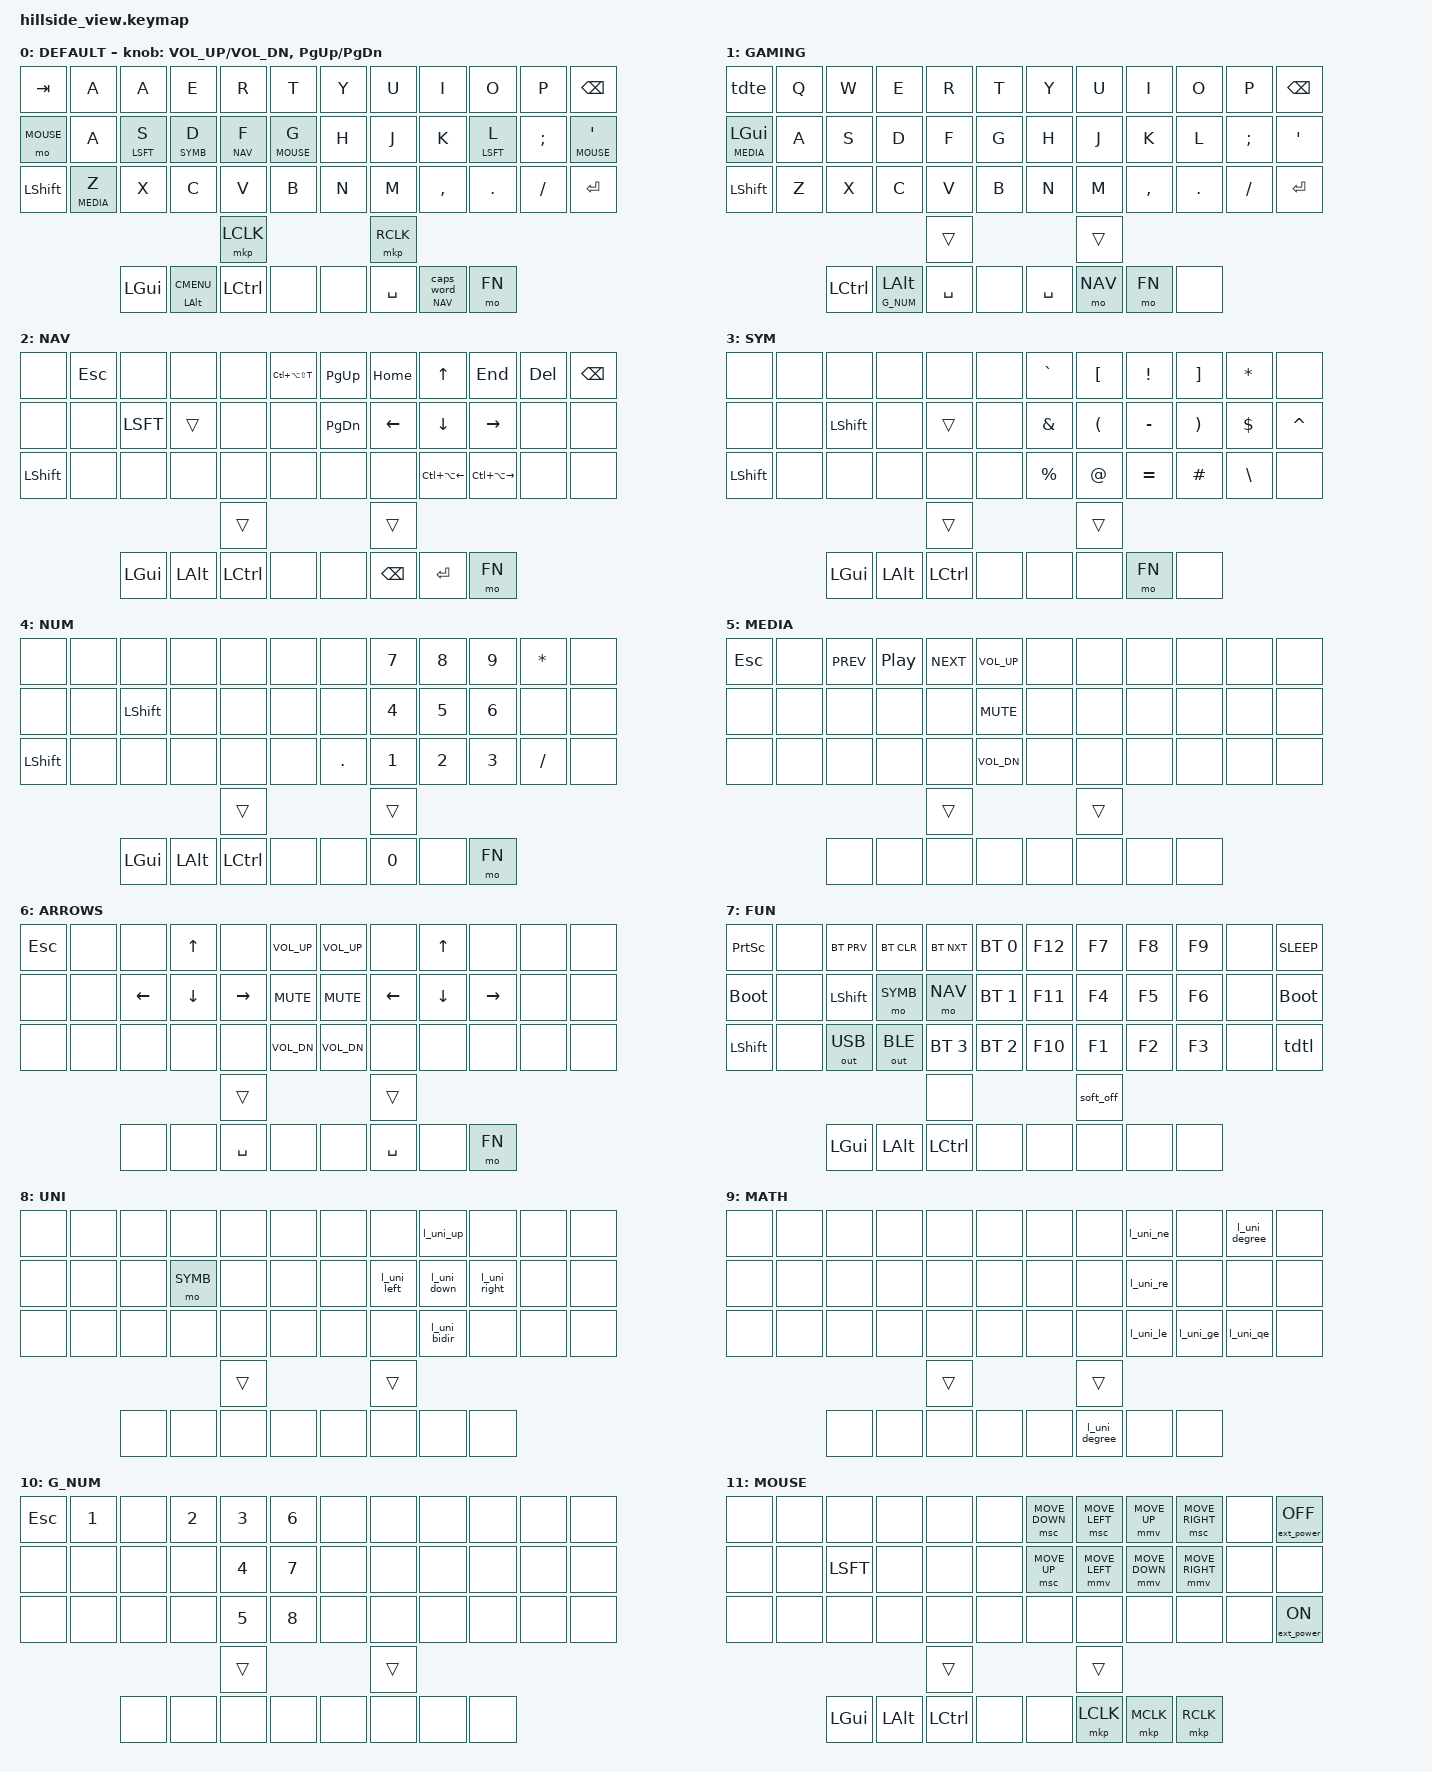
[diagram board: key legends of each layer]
#include <behaviors.dtsi>
#include <dt-bindings/zmk/keys.h>
#include <dt-bindings/zmk/bt.h> 
//#include <dt-bindings/zmk/rgb.h>
#include <dt-bindings/zmk/ext_power.h>
#include <dt-bindings/zmk/outputs.h>

#include <dt-bindings/zmk/mouse.h>
#include <behaviors/mouse_keys.dtsi>

#define DEFAULT 0
#define GAME 1
#define NAV 2
#define SYMB 3
#define NUM 4
#define MEDIA 5
#define ARROWS 6
#define FN 7
#define UNI_NAV 8 // navigation-like unicode characters (e.g., arrows)
#define UNI_MATH 9 // math related unicode characters (e.g., approximately equals)
#define G_NUM 10   // Numbers (1-5) accessible from the GAME layer
#define MOUSE 11

  // Key numbers
  // -----------------------------------------------------------------------------------------
  // | NONE |  1  |  2  |  3  |  4  |  5  |   |  6  |  7   |  8  |  9  |  10  | NONE |
  // | NONE |  13 |  14 |  15 |  16 |  17 |   |  18 |  19  |  20 |  21 |  22  | NONE |
  // | NONE |  25 |  26 |  27 |  28 |  29 |   |  30 |  31  |  32 |  33 |  34  | NONE |
  //                                |  36 |   |  37 |
  //              |  38 |  39 |  40 |  41 |   |  42 |  43 |  44  |  45 |

&caps_word {
    continue-list = <UNDERSCORE MINUS FSLH BSLH N0 N1 N2 N3 N4 N5 N6 N7 N8 N9>;
    timeout = <3>;
    break-on-mod; /* stop caps_word when pressing a modifier */
};

/ {
#if 0
	/* assign `input-listener` to all pointing devices */
	/* &glidepoint0 on central, &glidepoint1 on peripheral */
    tpad_central_listener {
        compatible = "zmk,input-behavior-listener";
        device = <&glidepoint0>;
        y-invert;
        scale-multiplier = <2>;
        // xy-swap;
        // x-invert;
	};
#endif

    tpad_peripheral_listener {
        compatible = "zmk,input-behavior-listener";
        device = <&glidepoint1>;
        layers = <DEFAULT GAME MEDIA ARROWS FN UNI_NAV UNI_MATH G_NUM MOUSE>;
        y-invert;
        scale-multiplier = <2>;
        /* NOTE: do NOT override event code here, */
        /*       let Cirque glidepoint reports click from taps */
        // evt-type = <INPUT_EV_REL>;
        // x-input-code = <INPUT_REL_X>;
        // y-input-code = <INPUT_REL_Y>;
    };

    // Higher Cirque sensitvity when the NAV layer is active
    tpad_peripheral_listener_high_sens {
        compatible = "zmk,input-behavior-listener";
        device = <&glidepoint1>;
        // Higher movement sensitivity when 'f' (NAV) is held
        layers = <NAV>;
        y-invert;
        scale-multiplier = <5>;
    };

    // Cirque for scrolling when the SYMB layer is active
    tpad_peripheral_scroll {
        compatible = "zmk,input-behavior-listener";
        device = <&glidepoint1>;
        layers = <SYMB>;
        /* NOTE: only apply input-code overriding for INPUT_EV_REL */
        evt-type = <INPUT_EV_REL>;
        x-input-code = <INPUT_REL_HWHEEL>;
        y-input-code = <INPUT_REL_WHEEL>;
        bindings = <&ib_wheel_scaler 1 8>;
        // Slow down scrolling by 3/4
        scale-multiplier = <3>;
        scale-divisor = <4>;
    };

    // Higher Cirque sensitvity when the NAV layer is active
    tpad_peripheral_scroll_high_sens {
        compatible = "zmk,input-behavior-listener";
        device = <&glidepoint1>;
        layers = <NUM>;
        /* NOTE: only apply input-code overriding for INPUT_EV_REL */
        evt-type = <INPUT_EV_REL>;
        x-input-code = <INPUT_REL_HWHEEL>;
        y-input-code = <INPUT_REL_WHEEL>;
        bindings = <&ib_wheel_scaler 1 8>;
        // Scaling factor of x2.5
        scale-multiplier = <5>;
        scale-divisor = <2>;
    };

    ib_wheel_scaler: ib_wheel_scaler {
            compatible = "zmk,input-behavior-scaler";
            #binding-cells = <2>;
            evt-type = <INPUT_EV_REL>;
            input-code = <INPUT_REL_WHEEL>;
    };
};

/ {
    conditional_layers {
        compatible = "zmk,conditional-layers";
        tri_layer_numbers {
                if-layers = <NAV SYMB>;
                then-layer = <NUM>;
        };
        tri_layer_unicode_nav {
                if-layers = <NAV FN>;
                then-layer = <UNI_NAV>;
        };
        tri_layer_unicode_math {
                if-layers = <NAV SYMB FN>;
                then-layer = <UNI_MATH>;
        };
    };

    combos {
        compatible = "zmk,combos";
        combo_mclk{
            timeout-ms = <75>;
            key-positions = <36 37>; // LCLK + RCLK = MCLK
            bindings = <&mkp MCLK>;
        };
    };

    behaviors {
        mltp: media_layer_tap_preferred {
            compatible = "zmk,behavior-hold-tap";
            #binding-cells = <2>;
            flavor = "tap-preferred";
            tapping-term-ms = <300>;
            // quick-tap-ms enables repeated CTRL-Z by holding CTRL and double
            // tapping and holding Z.
            quick-tap-ms = <200>;
            bindings = <&mo>, <&kp>;
        };

        tdte: tap_dance_tab_esc {
            compatible = "zmk,behavior-tap-dance";
            #binding-cells = <0>;
            tapping-term-ms = <200>;
            bindings = <&kp TAB>, <&kp ESC>;
        };

        tdtl: tap_dance_to_layer {
            compatible = "zmk,behavior-tap-dance";
            #binding-cells = <0>;
            tapping-term-ms = <1000>;
            bindings = <&to DEFAULT>, <&to GAME>, <&to ARROWS>;
        };

        // From docs (https://zmk.dev/docs/behaviors/hold-tap#example-use-cases)
        lh_pht: left_hand_positional_hold_tap {
            compatible = "zmk,behavior-hold-tap";
            #binding-cells = <2>;
            flavor = "tap-preferred";
            tapping-term-ms = <150>;                        // <---[[produces tap if held longer than tapping-term-ms]]
            // Retro tap fixes this issue:
            // 1. Press one home row mod
            // 2. Press a second home row mod
            // 3. Wait a bit (slow typing)
            // 4. Release second home row mod
            // Expected: First home row mod hold behavior applied to second home row mod tap behavior
            // Actual: Nothing happens, because the second home row mod is held
            //     long enough for hold behavior to be invoked, but no other key
            //     (except for the first home row mod which was already pressed)
            //     gets tapped. Retro tap foces the second home row mod to emit
            //     tap behavior when it finally gets released.
            retro-tap;
            bindings = <&kp>, <&kp>;
            hold-trigger-key-positions = <
                6  7  8  9  10    // Y - P
                18 19 20 21 22 23 // H - '
                30 31 32 33 34 35 // N - Enter
            >;    // <---[[right-hand keys]]
        };

        // From docs (https://zmk.dev/docs/behaviors/hold-tap#example-use-cases)
        rh_pht: right_hand_positional_hold_tap {
            compatible = "zmk,behavior-hold-tap";
            #binding-cells = <2>;
            flavor = "tap-preferred";
            tapping-term-ms = <150>;                        // <---[[produces tap if held longer than tapping-term-ms]]
            // See retro-tap expalanation above
            retro-tap;
            bindings = <&kp>, <&kp>;
            hold-trigger-key-positions = <
                0  1  2  3  4  5  // Tab - T
                   13 14 15 16 17 // A   - G
                   25 26 27 28 29 // Z   - B
            >;    // <---[[left hand keys]]
        };

        // Usage example: &lt_cw NAV 0
        lt_cw: layer_tap_caps_word {
            compatible = "zmk,behavior-hold-tap";
            #binding-cells = <2>;
            tapping-term-ms = <200>;
            flavor = "tap-preferred";
            bindings = <&mo>, <&caps_word>;
        };

        lt_mk: layer_tap_mo_kp {
            compatible = "zmk,behavior-hold-tap";
            #binding-cells = <2>;
            tapping-term-ms = <150>;
            flavor = "tap-preferred";
            quick-tap-ms = <200>;
            bindings = <&mo>, <&kp>;
        };
    };

    macros {
        l_uni_le: linux_unicode_less_than_or_equal {
            compatible = "zmk,behavior-macro";
            #binding-cells = <0>;
            wait-ms = <10>;
            tap-ms = <10>;
            bindings = <&kp LC(LS(U)) &kp N2 &kp N2 &kp N6 &kp N4 &kp RET>;
        };

        l_uni_ge: linux_unicode_greater_than_or_equal {
            compatible = "zmk,behavior-macro";
            #binding-cells = <0>;
            wait-ms = <10>;
            tap-ms = <10>;
            bindings = <&kp LC(LS(U)) &kp N2 &kp N2 &kp N6 &kp N5 &kp RET>;
        };

        l_uni_qe: linux_unicode_questioned_equals {
            compatible = "zmk,behavior-macro";
            #binding-cells = <0>;
            wait-ms = <10>;
            tap-ms = <10>;
            bindings = <&kp LC(LS(U)) &kp N2 &kp N2 &kp N5 &kp F &kp RET>;
        };

        l_uni_re: linux_unicode_roughly_equals {
            compatible = "zmk,behavior-macro";
            #binding-cells = <0>;
            wait-ms = <10>;
            tap-ms = <10>;
            bindings = <&kp LC(LS(U)) &kp N2 &kp N2 &kp N4 &kp N8 &kp RET>;
        };

        l_uni_ne: linux_unicode_not_equals {
            compatible = "zmk,behavior-macro";
            #binding-cells = <0>;
            wait-ms = <10>;
            tap-ms = <10>;
            bindings = <&kp LC(LS(U)) &kp N2 &kp N2 &kp N6 &kp N0 &kp RET>;
        };

        l_uni_degree: linux_unicode_degree {
            compatible = "zmk,behavior-macro";
            #binding-cells = <0>;
            wait-ms = <10>;
            tap-ms = <10>;
            bindings = <&kp LC(LS(U)) &kp N0 &kp N0 &kp B &kp N0 &kp RET>;
        };

        l_uni_left: linux_unicode_left {
            compatible = "zmk,behavior-macro";
            #binding-cells = <0>;
            wait-ms = <10>;
            tap-ms = <10>;
            bindings = <&kp LC(LS(U)) &kp N2 &kp N1 &kp N9 &kp N0 &kp RET>;
        };

        l_uni_up: linux_unicode_up {
            compatible = "zmk,behavior-macro";
            #binding-cells = <0>;
            wait-ms = <10>;
            tap-ms = <10>;
            bindings = <&kp LC(LS(U)) &kp N2 &kp N1 &kp N9 &kp N1 &kp RET>;
        };

        l_uni_right: linux_unicode_right {
            compatible = "zmk,behavior-macro";
            #binding-cells = <0>;
            wait-ms = <10>;
            tap-ms = <10>;
            bindings = <&kp LC(LS(U)) &kp N2 &kp N1 &kp N9 &kp N2 &kp RET>;
        };

        l_uni_down: linux_unicode_down {
            compatible = "zmk,behavior-macro";
            #binding-cells = <0>;
            wait-ms = <10>;
            tap-ms = <10>;
            bindings = <&kp LC(LS(U)) &kp N2 &kp N1 &kp N9 &kp N3 &kp RET>;
        };

        l_uni_bidir: linux_unicode_bidirectional {
            compatible = "zmk,behavior-macro";
            #binding-cells = <0>;
            wait-ms = <10>;
            tap-ms = <10>;
            bindings = <&kp LC(LS(U)) &kp N2 &kp N1 &kp N9 &kp N4 &kp RET>;
        };
    };

    keymap {
        compatible = "zmk,keymap";

        default_layer {
            display-name = "DEFAULT";
            bindings = <
&kp TAB    &kp A         &kp A          &kp E        &kp R      &kp T       /*|*/ &kp Y     &kp U        &kp I        &kp O          &kp P    &kp BSPC
&mo MOUSE  &kp A         &lh_pht LSFT S &lt SYMB D   &lt NAV F  &lt MOUSE G /*|*/ &kp H     &kp J        &kp K        &rh_pht LSFT L &kp SEMI &lt MOUSE SQT
&kp LSHFT  &mltp MEDIA Z &kp X          &kp C        &kp V      &kp B       /*|*/ &kp N     &kp M        &kp COMMA    &kp DOT        &kp FSLH &kp RET
                                                     &mkp LCLK              /*|*/           &mkp RCLK
                         &kp LGUI   &mt LALT K_CMENU &kp LCTRL  &none       /*|*/ &none     &kp SPACE    &lt_cw NAV 0 &mo FN
            >;
            sensor-bindings = <&inc_dec_kp C_VOL_UP C_VOL_DN &inc_dec_kp PG_UP PG_DN>;
      };

        gaming_layer {
            display-name = "GAMING";
            bindings = <
&tdte          &kp Q &kp W     &kp E             &kp R     &kp T /*|*/ &kp Y     &kp U     &kp I     &kp O   &kp P    &kp BSPC
&lt MEDIA LGUI &kp A &kp S     &kp D             &kp F     &kp G /*|*/ &kp H     &kp J     &kp K     &kp L   &kp SEMI &kp SQT
&kp LSHFT      &kp Z &kp X     &kp C             &kp V     &kp B /*|*/ &kp N     &kp M     &kp COMMA &kp DOT &kp FSLH &kp RET
                                                 &trans          /*|*/           &trans
                     &kp LCTRL &lt_mk G_NUM LALT &kp SPACE &none /*|*/ &kp SPACE &mo NAV   &mo FN    &none
                           >;
            };

        navigation_layer {
            display-name = "NAV";
            bindings = <
&none     &kp ESC &none    &none    &none     &kp LC(LA(LS(T))) /*|*/ &kp PG_UP &kp HOME  &kp UP           &kp END           &kp DEL &kp BSPC
&none     &none   &kp LSFT &trans   &none     &none             /*|*/ &kp PG_DN &kp LEFT  &kp DOWN         &kp RIGHT         &none   &none
&kp LSHFT &none   &none    &none    &none     &none             /*|*/ &none     &none     &kp LC(LA(LEFT)) &kp LC(LA(RIGHT)) &none   &none
                                    &trans                      /*|*/           &trans
                  &kp LGUI &kp LALT &kp LCTRL &none             /*|*/ &none     &kp BSPC  &kp RET          &mo FN
            >;
        };

        symbols_layer {
            display-name = "SYM";
            bindings = <
&none     &none &none     &none    &none    &none /*|*/ &kp GRAVE &kp LBKT &kp EXCL  &kp RBKT &kp STAR &none
&none     &none &kp LSHFT &none    &trans   &none /*|*/ &kp AMPS  &kp LPAR &kp MINUS &kp RPAR &kp DLLR &kp CARET
&kp LSHFT &none &none     &none    &none    &none /*|*/ &kp PRCNT &kp AT   &kp EQUAL &kp HASH &kp BSLH &none
                                   &trans         /*|*/           &trans
                &kp LGUI &kp LALT &kp LCTRL &none /*|*/ &none     &none    &mo FN    &none
            >;
        };

            numbers_layer {
                display-name = "NUM";
                bindings = <
&none     &none &none     &none    &none     &none /*|*/ &none   &kp N7 &kp N8 &kp N9 &kp STAR &none
&none     &none &kp LSHFT &none    &none     &none /*|*/ &none   &kp N4 &kp N5 &kp N6 &none    &none
&kp LSHFT &none &none     &none    &none     &none /*|*/ &kp DOT &kp N1 &kp N2 &kp N3 &kp FSLH &none
                                   &trans          /*|*/         &trans
                &kp LGUI &kp LALT  &kp LCTRL &none /*|*/ &none   &kp N0  &none &mo FN
                >;
            };

            media_layer {
                display-name = "MEDIA";
                bindings = <
&kp ESC &none &kp C_PREV &kp C_PP &kp C_NEXT &kp C_VOL_UP /*|*/ &none &none  &none &none &none &none
&none   &none &none      &none    &none      &kp C_MUTE   /*|*/ &none &none  &none &none &none &none
&none   &none &none      &none    &none      &kp C_VOL_DN /*|*/ &none &none  &none &none &none &none
                                  &trans                  /*|*/       &trans
              &none    &none      &none      &none        /*|*/ &none &none  &none &none
                >;
            };

            arrows_layer {
                display-name = "ARROWS";
                bindings = <
&kp ESC &none &none    &kp UP   &none     &kp C_VOL_UP /*|*/ &kp C_VOL_UP &none     &kp UP   &none     &none &none
&none   &none &kp LEFT &kp DOWN &kp RIGHT &kp C_MUTE   /*|*/ &kp C_MUTE   &kp LEFT  &kp DOWN &kp RIGHT &none &none
&none   &none &none    &none    &none     &kp C_VOL_DN /*|*/ &kp C_VOL_DN &none     &none    &none     &none &none
                                &trans                 /*|*/              &trans
              &none    &none    &kp SPACE &none        /*|*/ &none        &kp SPACE &none    &mo FN
                >;
            };

            function_layer {
                display-name = "FUN";
                bindings = <
&kp PSCRN       &none &bt BT_PRV   &bt BT_CLR   &bt BT_NXT   &bt BT_SEL 0 /*|*/ &kp F12 &kp F7    &kp F8 &kp F9 &none &kp C_SLEEP
&bootloader     &none &kp LSHFT    &mo SYMB     &mo NAV      &bt BT_SEL 1 /*|*/ &kp F11 &kp F4    &kp F5 &kp F6 &none &bootloader
&kp LSHFT       &none &out OUT_USB &out OUT_BLE &bt BT_SEL 3 &bt BT_SEL 2 /*|*/ &kp F10 &kp F1    &kp F2 &kp F3 &none &tdtl
                                                &none                     /*|*/         &soft_off
                      &kp LGUI     &kp LALT     &kp LCTRL    &none        /*|*/ &none   &none     &none  &none
                >;
            };

            unicode_nav_layer {
                display-name = "UNI";
                bindings = <
&none &none &none &none    &none &none  /*|*/ &none  &none       &l_uni_up    &none        &none &none
&none &none &none &mo SYMB &none &none  /*|*/ &none  &l_uni_left &l_uni_down  &l_uni_right &none &none
&none &none &none &none    &none &none  /*|*/ &none  &none       &l_uni_bidir &none        &none &none
                           &trans       /*|*/        &trans
            &none &none    &none &none  /*|*/ &none  &none &none &none
                >;
            };

            unicode_math_layer {
                display-name = "MATH";
                    bindings = <
&none &none &none &none &none  &none  /*|*/ &none &none         &l_uni_ne &none     &l_uni_degree &none
&none &none &none &none &none  &none  /*|*/ &none &none         &l_uni_re &none     &none         &none
&none &none &none &none &none  &none  /*|*/ &none &none         &l_uni_le &l_uni_ge &l_uni_qe     &none
                        &trans        /*|*/       &trans
            &none &none &none  &none  /*|*/ &none &l_uni_degree &none   &none
                  >;
            };

            game_number_layer {
                display-name = "G_NUM";
                bindings = <
&kp ESC &kp N1 &none &kp N2 &kp N3 &kp N6 /*|*/ &none  &none  &none &none &none &none
&none   &none  &none &none  &kp N4 &kp N7 /*|*/ &none  &none  &none &none &none &none
&none   &none  &none &none  &kp N5 &kp N8 /*|*/ &none  &none  &none &none &none &none
                            &trans        /*|*/        &trans
               &none  &none &none  &none  /*|*/ &none  &none  &none &none
               >;
            };

            mouse_layer {
                display-name = "MOUSE";
                bindings = <
&none &none &none    &none     &none     &none /*|*/ &msc MOVE_DOWN &msc MOVE_LEFT &mmv MOVE_UP   &msc MOVE_RIGHT &none &ext_power EP_OFF
&none &none &kp LSFT &none     &none     &none /*|*/ &msc MOVE_UP   &mmv MOVE_LEFT &mmv MOVE_DOWN &mmv MOVE_RIGHT &none &none
&none &none &none    &none     &none     &none /*|*/ &none          &none          &none          &none           &none &ext_power EP_ON
                               &trans          /*|*/                &trans
            &kp LGUI &kp LALT  &kp LCTRL &none /*|*/ &none          &mkp LCLK      &mkp MCLK      &mkp RCLK
                 >;
            };
   };  
};
